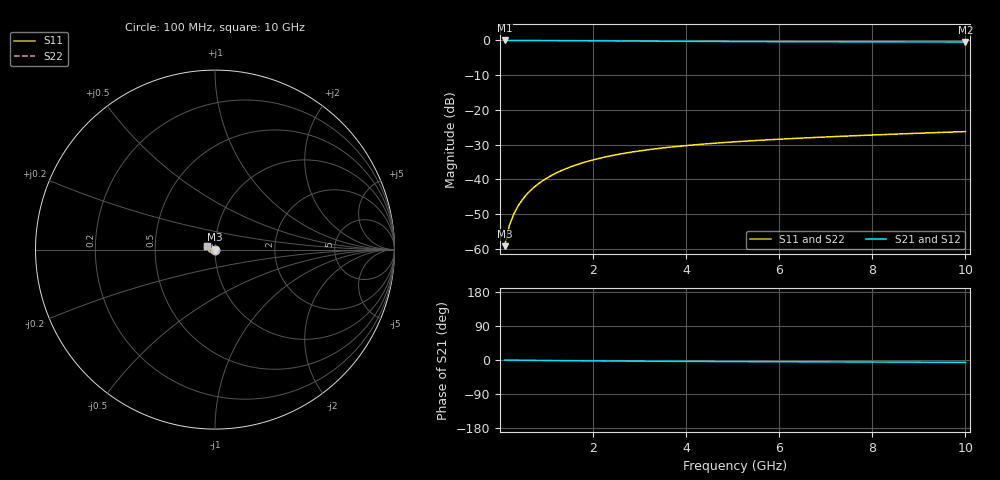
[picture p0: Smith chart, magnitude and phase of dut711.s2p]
! Touchstone file exported from HFSS 2024.1.0
!  File:  C:/UserFiles/LocalFiles/RDL_TSV_Batchsim/temp_TSV1_711_1779867344.aedt
!  Generated:  03:42:14 PM May 27, 2026
!  Design:  TSV1
!  Project:  temp_TSV1_711_1779867344
!  Setup:  Setup1
!  Solution:  Sweep
! Variables:
!  dtsv = 7.95um
!  hbump = 3um
!  htsv = 96.74um
!  lrdl = 252.1521522um
!  p = 40
!  p1 = 53.82um
!  t = 500um
!  trdl = 3um
!  wrdl = 24.89489489um
# GHz S MA R 50.000000
! Terminal data exported
! Port[1] = TSV22_T1
! Port[2] = TSV22_T2
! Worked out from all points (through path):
!   100 points, 100 MHz to 10 GHz, reference 50 ohm
!   highest |S21| = 0.00 dB at 100 MHz (marker M1); lowest = -0.4 dB at 10 GHz (marker M2)
!   lowest |S11| = -59.3 dB at 100 MHz (marker M3), VSWR 1.00, Z = 50 - j0.106 ohm
!   |S11| at or under -10 dB: start of sweep to end of sweep
!   |S22| runs from -59.3 to -26.3 dB; largest |S21 - S12| = 5.5e-15
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0.1  0.001085 -78.3  0.9997 -0.1  0.9997 -0.1  0.001085 -78.3
! Gamma 0 0 0 0
! Port Impedance 50 0 50 0
0.2  0.002133 -86.9  0.9996 -0.3  0.9996 -0.3  0.002133 -86.9
0.3  0.003188 -91.3  0.9994 -0.4  0.9994 -0.4  0.003188 -91.3
0.4  0.00424 -94.5  0.9991 -0.5  0.9991 -0.5  0.00424 -94.5
0.5  0.005283 -97.2  0.9987 -0.7  0.9987 -0.7  0.005283 -97.2
0.6  0.006317 -99.7  0.9983 -0.8  0.9983 -0.8  0.006317 -99.7
0.7  0.007339 -102.1  0.9979 -0.9  0.9979 -0.9  0.007339 -102.1
0.8  0.008347 -104.3  0.9973 -1.1  0.9973 -1.1  0.008347 -104.3
0.9  0.009341 -106.5  0.9967 -1.2  0.9967 -1.2  0.009341 -106.5
1.1  0.01128 -110.6  0.9954 -1.4  0.9954 -1.4  0.01128 -110.6
1.4  0.01404 -116.6  0.9931 -1.7  0.9931 -1.7  0.01404 -116.6
1.6  0.01578 -120.3  0.9914 -2.0  0.9914 -2.0  0.01578 -120.3
1.8  0.01743 -123.9  0.9896 -2.2  0.9896 -2.2  0.01743 -123.9
2.1  0.01974 -129.1  0.9869 -2.4  0.9869 -2.4  0.01974 -129.1
2.5  0.02254 -135.6  0.9832 -2.7  0.9832 -2.7  0.02254 -135.6
2.9  0.02502 -141.6  0.9797 -3.0  0.9797 -3.0  0.02502 -141.6
3.4  0.02774 -148.5  0.9755 -3.3  0.9755 -3.3  0.02774 -148.5
4.2  0.0314 -158.2  0.9698 -3.8  0.9698 -3.8  0.0314 -158.2
5.1  0.0348 -167.7  0.9646 -4.2  0.9646 -4.2  0.0348 -167.7
6.7  0.03979 178.5  0.958 -4.9  0.958 -4.9  0.03979 178.5
8.4  0.04444 166.8  0.9534 -5.6  0.9534 -5.6  0.04444 166.8
10  0.04864 157.7  0.9504 -6.3  0.9504 -6.3  0.04864 157.7
